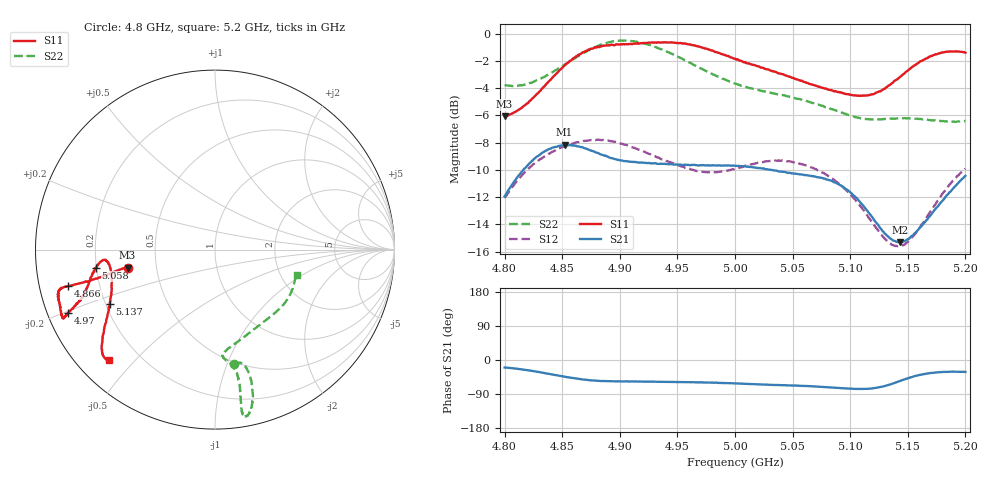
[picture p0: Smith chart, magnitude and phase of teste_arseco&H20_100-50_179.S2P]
! Network Analyzer HP8722D
! Hewlett-Packard
! Data name: Linha & Wilkinson
! Saver's name: Rodrigo Anjos
! Comments: Teste da utilização de aquisição
! continua pelo VNA HP8722D
! Time and date: 6/5/2025 14:03
!  Frequency  S11  S21  S12  S22
# HZ  S  MA R 50
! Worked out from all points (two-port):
!   401 points, 4.8 GHz to 5.2 GHz, reference 50 ohm
!   highest |S21| = -8.15 dB at 4.852 GHz (marker M1); lowest = -15.3 dB at 5.143 GHz (marker M2)
!   |S21| within 3 dB of the highest: 4.806 GHz to 5.092 GHz (286 MHz wide, 5.78 % of centre); 5.191666 GHz to end of sweep
!   lowest |S11| = -6.1 dB at 4.8 GHz (marker M3), VSWR 2.98, Z = 16.9 - j4.53 ohm
!   |S11| at or under -10 dB: nowhere
!   |S22| runs from -6.5 to -0.5 dB; largest |S21 - S12| = 0.62
!   S11 on the Smith chart (normalised r, x): 4.8 GHz: 0.34, -0.09; 4.866 GHz: 0.09, -0.12; 4.97 GHz: 0.06, -0.21; 5.058 GHz: 0.20, -0.07; 5.137 GHz: 0.22, -0.23; 5.2 GHz: 0.09, -0.42
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4.8e9  0.4976 -168.3  0.2528 -19.9  0.2493 -141.0  0.6478 -80.4
4.826e9  0.5886 -167.3  0.3482 -29.7  0.3341 -144.6  0.6683 -75.6
4.852e9  0.7645 -166.0  0.3912 -44.1  0.3863 -149.6  0.7694 -74.6
4.866e9  0.843 -166.0  0.3831 -50.5  0.402 -152.0  0.8377 -75.4
4.867e9  0.8496 -166.0  0.3838 -51.0  0.4024 -152.2  0.8431 -75.5
4.879e9  0.8922 -165.7  0.3664 -54.5  0.4068 -154.2  0.8937 -76.7
4.899e9  0.9127 -163.0  0.3439 -56.6  0.3971 -156.9  0.9422 -79.2
4.934e9  0.9296 -156.6  0.3327 -57.6  0.3508 -155.7  0.882 -80.5
4.97e9  0.8938 -156.6  0.3294 -59.2  0.3123 -147.1  0.7468 -79.7
5e9  0.8102 -159.2  0.3276 -62.0  0.3195 -137.3  0.6564 -81.3
5.033e9  0.7275 -165.0  0.3156 -65.8  0.3415 -134.5  0.6044 -85.6
5.058e9  0.6726 -171.3  0.3043 -68.2  0.3315 -136.2  0.5723 -84.6
5.067e9  0.6506 -173.2  0.3004 -69.2  0.3224 -136.9  0.557 -82.7
5.084e9  0.6204 -174.7  0.2884 -72.5  0.2944 -138.5  0.5289 -76.2
5.101e9  0.5965 -172.1  0.26 -75.8  0.2547 -138.9  0.4991 -66.5
5.116e9  0.5956 -165.6  0.2205 -76.0  0.2118 -135.4  0.4855 -55.7
5.134e9  0.6467 -154.3  0.1782 -65.0  0.1706 -120.6  0.4864 -43.3
5.137e9  0.6605 -152.5  0.1743 -62.2  0.1675 -116.7  0.4886 -41.4
5.143e9  0.6922 -149.4  0.1716 -55.7  0.1662 -108.8  0.4895 -38.0
5.154e9  0.7561 -144.6  0.1814 -44.5  0.1795 -95.0  0.489 -32.4
5.172e9  0.8342 -139.1  0.2217 -33.7  0.2304 -81.3  0.4804 -24.6
5.2e9  0.8519 -133.8  0.3008 -31.5  0.3198 -77.0  0.4782 -17.5
